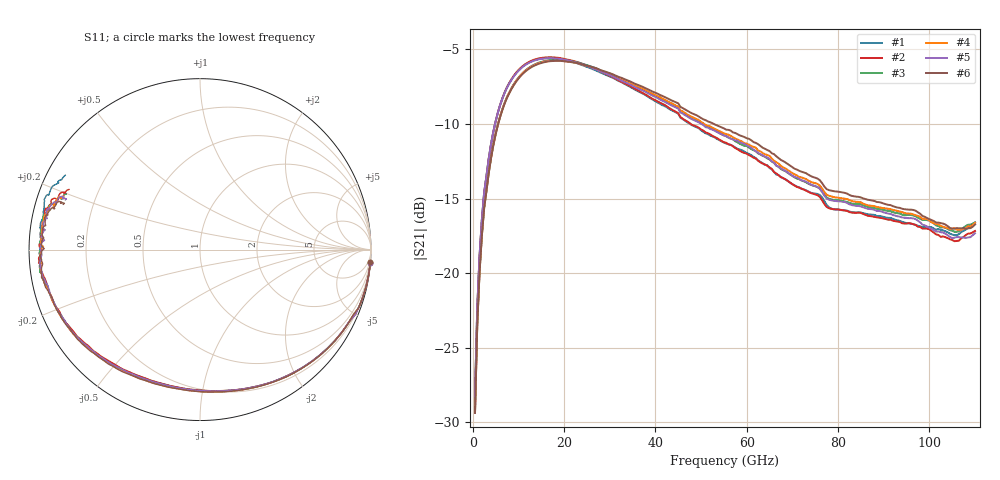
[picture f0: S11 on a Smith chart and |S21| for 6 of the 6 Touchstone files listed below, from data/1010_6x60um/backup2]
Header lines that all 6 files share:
!Date = 8/23/2019
!Test duration(min) = 0.15
!Test = S-Parameters
!MPTS version = 8.91.5
!State File = C:\Data\PNA\20190821205423\S-Parameters_2019-08-23.sta
!Cal File =
!ComputerName = CMPE-LAB-6
!Comments =
!Input Power(dBm) = -13.00
!Device ID = EG0520U_1010_6x60_2SDBCB2EV
!Technology = QPHT09
!Lot/Wafer = 1915934D06
!Gate Size = 360
!Mask = EG0520
!Cal Standards = GaAs BCB
!Cal Kit = EG2306
!Job Number = 20190821205423
!Device Type = FET
!set_Vd(v) = 0.000
!Vd(V) = 0.000
!Vd(mA) = 0.002
# GHz  S  DB  R  50
Fixed: Attenuation = 0, Z0 = 50
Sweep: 500 MHz to 110 GHz
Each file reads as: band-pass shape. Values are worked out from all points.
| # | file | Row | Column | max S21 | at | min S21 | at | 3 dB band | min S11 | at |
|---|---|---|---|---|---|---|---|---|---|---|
| 1 | EG0520U_1010_6x60_2SDBCB2EV_1915934D06_RC2943_Vg_N1.0V_Vd_0v.s2p | 29 | 43 | -5.59 dB | 16.5 GHz | -28.3 dB | 500 MHz | 6.5 GHz-40.5 GHz | -1.8 dB | 18.5 GHz |
| 2 | EG0520U_1010_6x60_2SDBCB2EV_1915934D06_RC2952_Vg_N1.0V_Vd_0v.s2p | 29 | 52 | -5.53 dB | 17 GHz | -28.3 dB | 500 MHz | 6.5 GHz-40.5 GHz | -1.8 dB | 18.5 GHz |
| 3 | EG0520U_1010_6x60_2SDBCB2EV_1915934D06_RC2952_Vg_N1.5V_Vd_0v.s2p | 29 | 52 | -5.70 dB | 18.5 GHz | -29.3 dB | 500 MHz | 7 GHz-43.5 GHz | -1.7 dB | 19 GHz |
| 4 | EG0520U_1010_6x60_2SDBCB2EV_1915934D06_RC4034_Vg_N1.5V_Vd_0v.s2p | 40 | 34 | -5.75 dB | 18.5 GHz | -29.3 dB | 500 MHz | 7 GHz-44 GHz | -1.7 dB | 19 GHz |
| 5 | EG0520U_1010_6x60_2SDBCB2EV_1915934D06_RC7325_Vg_N1.0V_Vd_0v.s2p | 73 | 25 | -5.59 dB | 17 GHz | -28.3 dB | 500 MHz | 6.5 GHz-42.5 GHz | -1.8 dB | 18.5 GHz |
| 6 | EG0520U_1010_6x60_2SDBCB2EV_1915934D06_RC7325_Vg_N1.5V_Vd_0v.s2p | 73 | 25 | -5.77 dB | 18.5 GHz | -29.4 dB | 500 MHz | 7 GHz-45 GHz | -1.7 dB | 19 GHz |
